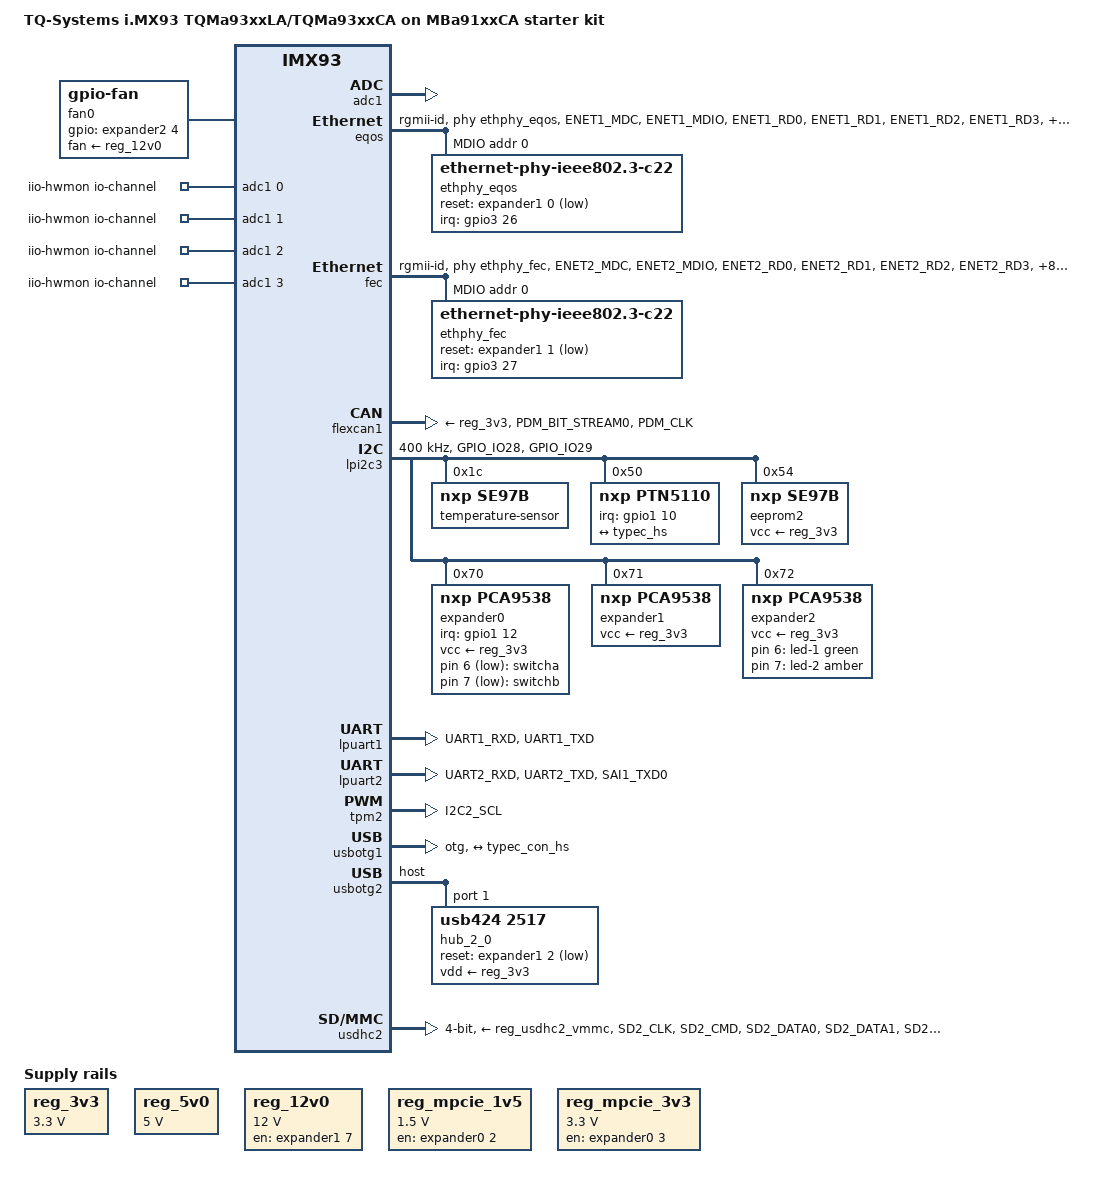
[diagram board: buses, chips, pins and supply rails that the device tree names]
// SPDX-License-Identifier: (GPL-2.0-or-later OR MIT)
/*
 * Copyright (c) 2022-2025 TQ-Systems GmbH <linux@ew.tq-group.com>,
 * D-82229 Seefeld, Germany.
 * Author: Markus Niebel
 * Author: Alexander Stein
 */
/dts-v1/;

#include <dt-bindings/input/input.h>
#include <dt-bindings/leds/common.h>
#include <dt-bindings/net/ti-dp83867.h>
#include <dt-bindings/pwm/pwm.h>
#include <dt-bindings/usb/pd.h>
#include "imx93-tqma9352.dtsi"

/{
	model = "TQ-Systems i.MX93 TQMa93xxLA/TQMa93xxCA on MBa91xxCA starter kit";
	compatible = "tq,imx93-tqma9352-mba91xxca", "tq,imx93-tqma9352", "fsl,imx93";
	chassis-type = "embedded";

	chosen {
		stdout-path = &lpuart1;
	};

	aliases {
		eeprom0 = &eeprom0;
		ethernet0 = &eqos;
		ethernet1 = &fec;
		gpio0 = &gpio1;
		gpio1 = &gpio2;
		gpio2 = &gpio3;
		gpio3 = &gpio4;
		i2c0 = &lpi2c1;
		i2c1 = &lpi2c2;
		i2c2 = &lpi2c3;
		mmc0 = &usdhc1;
		mmc1 = &usdhc2;
		rtc0 = &pcf85063;
		rtc1 = &bbnsm_rtc;
		serial0 = &lpuart1;
		serial1 = &lpuart2;
	};

	backlight: backlight {
		compatible = "pwm-backlight";
		pwms = <&tpm2 2 5000000 0>;
		brightness-levels = <0 4 8 16 32 64 128 255>;
		default-brightness-level = <7>;
		power-supply = <&reg_12v0>;
		enable-gpios = <&expander2 2 GPIO_ACTIVE_HIGH>;
		status = "disabled";
	};

	display: display {
		/*
		 * Display is not fixed, so compatible has to be added from
		 * DT overlay
		 */
		power-supply = <&reg_3v3>;
		enable-gpios = <&expander2 1 GPIO_ACTIVE_HIGH>;
		backlight = <&backlight>;
		status = "disabled";

		port {
			panel_in: endpoint {
			};
		};
	};

	fan0: gpio-fan {
		compatible = "gpio-fan";
		gpios = <&expander2 4 GPIO_ACTIVE_HIGH>;
		gpio-fan,speed-map = <0 0>, <10000 1>;
		fan-supply = <&reg_12v0>;
		#cooling-cells = <2>;
	};

	gpio-keys {
		compatible = "gpio-keys";
		autorepeat;

		switch-a {
			label = "switcha";
			linux,code = <BTN_0>;
			gpios = <&expander0 6 GPIO_ACTIVE_LOW>;
			wakeup-source;
		};

		switch-b {
			label = "switchb";
			linux,code = <BTN_1>;
			gpios = <&expander0 7 GPIO_ACTIVE_LOW>;
			wakeup-source;
		};
	};

	gpio-leds {
		compatible = "gpio-leds";

		led-1 {
			color = <LED_COLOR_ID_GREEN>;
			function = LED_FUNCTION_STATUS;
			gpios = <&expander2 6 GPIO_ACTIVE_HIGH>;
			linux,default-trigger = "default-on";
		};

		led-2 {
			color = <LED_COLOR_ID_AMBER>;
			function = LED_FUNCTION_HEARTBEAT;
			gpios = <&expander2 7 GPIO_ACTIVE_HIGH>;
			linux,default-trigger = "heartbeat";
		};
	};

	iio-hwmon {
		compatible = "iio-hwmon";
		io-channels = <&adc1 0>, <&adc1 1>, <&adc1 2>, <&adc1 3>;
	};

	lvds_encoder: lvds-encoder {
		compatible = "ti,sn75lvds83", "lvds-encoder";
		powerdown-gpios = <&expander2 3 GPIO_ACTIVE_LOW>;
		power-supply = <&reg_3v3>;
		status = "disabled";

		ports {
			#address-cells = <1>;
			#size-cells = <0>;

			port@0 {
				reg = <0>;

				lvds_encoder_input: endpoint {
				};
			};

			port@1 {
				reg = <1>;

				lvds_encoder_output: endpoint {
				};
			};
		};
	};

	reg_3v3: regulator-3v3 {
		compatible = "regulator-fixed";
		regulator-name = "V_3V3_MB";
		regulator-min-microvolt = <3300000>;
		regulator-max-microvolt = <3300000>;
	};

	reg_5v0: regulator-5v0 {
		compatible = "regulator-fixed";
		regulator-name = "V_5V0_MB";
		regulator-min-microvolt = <5000000>;
		regulator-max-microvolt = <5000000>;
	};

	reg_12v0: regulator-12v0 {
		compatible = "regulator-fixed";
		regulator-name = "V_12V";
		regulator-min-microvolt = <12000000>;
		regulator-max-microvolt = <12000000>;
		gpio = <&expander1 7 GPIO_ACTIVE_HIGH>;
		enable-active-high;
	};

	reg_mpcie_1v5: regulator-mpcie-1v5 {
		compatible = "regulator-fixed";
		regulator-name = "V_1V5_MPCIE";
		regulator-min-microvolt = <1500000>;
		regulator-max-microvolt = <1500000>;
		gpio = <&expander0 2 GPIO_ACTIVE_HIGH>;
		enable-active-high;
		regulator-always-on;
	};

	reg_mpcie_3v3: regulator-mpcie-3v3 {
		compatible = "regulator-fixed";
		regulator-name = "V_3V3_MPCIE";
		regulator-min-microvolt = <3300000>;
		regulator-max-microvolt = <3300000>;
		gpio = <&expander0 3 GPIO_ACTIVE_HIGH>;
		enable-active-high;
		regulator-always-on;
	};

	thermal-zones {
		cpu-thermal {
			trips {
				cpu_active: trip-active0 {
					temperature = <40000>;
					hysteresis = <5000>;
					type = "active";
				};
			};

			cooling-maps {
				map1 {
					trip = <&cpu_active>;
					cooling-device = <&fan0 THERMAL_NO_LIMIT THERMAL_NO_LIMIT>;
				};
			};
		};
	};
};

&adc1 {
	status = "okay";
};

&eqos {
	pinctrl-names = "default";
	pinctrl-0 = <&pinctrl_eqos>;
	phy-mode = "rgmii-id";
	phy-handle = <&ethphy_eqos>;
	status = "okay";

	mdio {
		compatible = "snps,dwmac-mdio";
		#address-cells = <1>;
		#size-cells = <0>;

		ethphy_eqos: ethernet-phy@0 {
			compatible = "ethernet-phy-ieee802.3-c22";
			reg = <0>;
			pinctrl-names = "default";
			pinctrl-0 = <&pinctrl_eqos_phy>;
			reset-gpios = <&expander1 0 GPIO_ACTIVE_LOW>;
			reset-assert-us = <500000>;
			reset-deassert-us = <50000>;
			interrupt-parent = <&gpio3>;
			interrupts = <26 IRQ_TYPE_EDGE_FALLING>;
			enet-phy-lane-no-swap;
			ti,rx-internal-delay = <DP83867_RGMIIDCTL_2_25_NS>;
			ti,tx-internal-delay = <DP83867_RGMIIDCTL_2_25_NS>;
			ti,fifo-depth = <DP83867_PHYCR_FIFO_DEPTH_4_B_NIB>;
			ti,dp83867-rxctrl-strap-quirk;
			ti,clk-output-sel = <DP83867_CLK_O_SEL_OFF>;
		};
	};
};

&fec {
	pinctrl-names = "default";
	pinctrl-0 = <&pinctrl_fec>;
	phy-mode = "rgmii-id";
	phy-handle = <&ethphy_fec>;
	fsl,magic-packet;
	status = "okay";

	mdio {
		#address-cells = <1>;
		#size-cells = <0>;
		clock-frequency = <5000000>;

		ethphy_fec: ethernet-phy@0 {
			compatible = "ethernet-phy-ieee802.3-c22";
			reg = <0>;
			pinctrl-names = "default";
			pinctrl-0 = <&pinctrl_fec_phy>;
			reset-gpios = <&expander1 1 GPIO_ACTIVE_LOW>;
			reset-assert-us = <500000>;
			reset-deassert-us = <50000>;
			interrupt-parent = <&gpio3>;
			interrupts = <27 IRQ_TYPE_EDGE_FALLING>;
			enet-phy-lane-no-swap;
			ti,rx-internal-delay = <DP83867_RGMIIDCTL_2_25_NS>;
			ti,tx-internal-delay = <DP83867_RGMIIDCTL_2_25_NS>;
			ti,fifo-depth = <DP83867_PHYCR_FIFO_DEPTH_4_B_NIB>;
			ti,dp83867-rxctrl-strap-quirk;
			ti,clk-output-sel = <DP83867_CLK_O_SEL_OFF>;
		};
	};
};

&flexcan1 {
	pinctrl-names = "default";
	pinctrl-0 = <&pinctrl_flexcan1>;
	xceiver-supply = <&reg_3v3>;
	status = "okay";
};

&gpio1 {
	gpio-line-names =
		/* 00 */ "", "", "", "PMIC_IRQ#",
		/* 04 */ "", "", "", "",
		/* 08 */ "", "", "USB_C_ALERT#", "BM2_LCD_INT#",
		/* 12 */ "PEX_INT#", "", "RTC_EVENT#", "",
		/* 16 */ "", "", "", "",
		/* 20 */ "", "", "", "",
		/* 24 */ "", "", "", "",
		/* 28 */ "", "", "", "";
};

&gpio2 {
	gpio-line-names =
		/* 00 */ "", "", "", "",
		/* 04 */ "", "", "", "",
		/* 08 */ "", "", "", "",
		/* 12 */ "", "", "", "",
		/* 16 */ "", "", "", "",
		/* 20 */ "", "", "", "",
		/* 24 */ "", "", "", "",
		/* 28 */ "", "", "", "";
};

&gpio3 {
	gpio-line-names =
		/* 00 */ "SD2_CD#", "", "", "",
		/* 04 */ "", "", "", "SD2_RST#",
		/* 08 */ "", "", "", "",
		/* 12 */ "", "", "", "",
		/* 16 */ "", "", "", "",
		/* 20 */ "", "", "", "",
		/* 24 */ "", "", "ENET1_INT#", "ENET2_INT#",
		/* 28 */ "", "", "", "";
};

&gpio4 {
	gpio-line-names =
		/* 00 */ "", "", "", "",
		/* 04 */ "", "", "", "",
		/* 08 */ "", "", "", "",
		/* 12 */ "", "", "", "",
		/* 16 */ "", "", "", "",
		/* 20 */ "", "", "", "",
		/* 24 */ "", "", "", "",
		/* 28 */ "", "", "", "";
};

&lpi2c3 {
	#address-cells = <1>;
	#size-cells = <0>;
	clock-frequency = <400000>;
	pinctrl-names = "default", "sleep";
	pinctrl-0 = <&pinctrl_lpi2c3>;
	pinctrl-1 = <&pinctrl_lpi2c3>;
	status = "okay";

	temperature-sensor@1c {
		compatible = "nxp,se97b", "jedec,jc-42.4-temp";
		reg = <0x1c>;
	};

	ptn5110: usb-typec@50 {
		compatible = "nxp,ptn5110", "tcpci";
		reg = <0x50>;
		pinctrl-names = "default";
		pinctrl-0 = <&pinctrl_typec>;
		interrupt-parent = <&gpio1>;
		interrupts = <10 IRQ_TYPE_EDGE_FALLING>;

		connector {
			compatible = "usb-c-connector";
			label = "X17";
			power-role = "dual";
			data-role = "dual";
			try-power-role = "sink";
			typec-power-opmode = "default";
			pd-disable;
			self-powered;

			port {
				typec_con_hs: endpoint {
					remote-endpoint = <&typec_hs>;
				};
			};
		};
	};

	eeprom2: eeprom@54 {
		compatible = "nxp,se97b", "atmel,24c02";
		reg = <0x54>;
		pagesize = <16>;
		vcc-supply = <&reg_3v3>;
	};

	expander0: gpio@70 {
		compatible = "nxp,pca9538";
		reg = <0x70>;
		pinctrl-names = "default";
		pinctrl-0 = <&pinctrl_pexp_irq>;
		gpio-controller;
		#gpio-cells = <2>;
		interrupt-controller;
		#interrupt-cells = <2>;
		interrupt-parent = <&gpio1>;
		interrupts = <12 IRQ_TYPE_LEVEL_LOW>;
		vcc-supply = <&reg_3v3>;
		gpio-line-names = "TEMP_EVENT_MOD#", "MPCIE_WAKE#",
				  "MPCIE_1V5_EN", "MPCIE_3V3_EN",
				  "MPCIE_PERST#", "MPCIE_WDISABLE#",
				  "BUTTON_A#", "BUTTON_B#";

		temp-event-mod-hog {
			gpio-hog;
			gpios = <0 GPIO_ACTIVE_LOW>;
			input;
			line-name = "TEMP_EVENT_MOD#";
		};

		mpcie-wake-hog {
			gpio-hog;
			gpios = <1 GPIO_ACTIVE_LOW>;
			input;
			line-name = "MPCIE_WAKE#";
		};

		/*
		 * Controls the mPCIE slot reset which is low active as
		 * reset signal. The output-low states, the signal is
		 * inactive, e.g. not in reset
		 */
		mpcie_rst_hog: mpcie-rst-hog {
			gpio-hog;
			gpios = <4 GPIO_ACTIVE_LOW>;
			output-low;
			line-name = "MPCIE_PERST#";
		};

		/*
		 * Controls the mPCIE slot WDISABLE pin which is low active
		 * as disable signal. The output-low states, the signal is
		 * inactive, e.g. not disabled
		 */
		mpcie_wdisable_hog: mpcie-wdisable-hog {
			gpio-hog;
			gpios = <5 GPIO_ACTIVE_LOW>;
			output-low;
			line-name = "MPCIE_WDISABLE#";
		};
	};

	expander1: gpio@71 {
		compatible = "nxp,pca9538";
		reg = <0x71>;
		gpio-controller;
		#gpio-cells = <2>;
		vcc-supply = <&reg_3v3>;
		gpio-line-names = "ENET1_RESET#", "ENET2_RESET#",
				  "USB_RESET#", "",
				  "WLAN_PD#", "WLAN_W_DISABLE#",
				  "WLAN_PERST#", "12V_EN";

		/*
		 * Controls the WiFi card PD pin which is low active
		 * as power down signal. The output-low states, the signal
		 * is inactive, e.g. not power down
		 */
		wlan-pd-hog {
			gpio-hog;
			gpios = <4 GPIO_ACTIVE_LOW>;
			output-low;
			line-name = "WLAN_PD#";
		};

		/*
		 * Controls the WiFi card disable pin which is low active
		 * as disable signal. The output-low states, the signal
		 * is inactive, e.g. not disabled
		 */
		wlan-wdisable-hog {
			gpio-hog;
			gpios = <5 GPIO_ACTIVE_LOW>;
			output-low;
			line-name = "WLAN_W_DISABLE#";
		};

		/*
		 * Controls the WiFi card reset pin which is low active
		 * as reset signal. The output-low states, the signal
		 * is inactive, e.g. not in reset
		 */
		wlan-perst-hog {
			gpio-hog;
			gpios = <6 GPIO_ACTIVE_LOW>;
			output-low;
			line-name = "WLAN_PERST#";
		};
	};

	expander2: gpio@72 {
		compatible = "nxp,pca9538";
		reg = <0x72>;
		gpio-controller;
		#gpio-cells = <2>;
		vcc-supply = <&reg_3v3>;
		gpio-line-names = "LCD_RESET#", "LCD_PWR_EN",
				  "LCD_BLT_EN", "LVDS_SHDN#",
				  "FAN_PWR_EN", "",
				  "USER_LED1", "USER_LED2";
	};
};

&lpuart1 {
	pinctrl-names = "default";
	pinctrl-0 = <&pinctrl_uart1>;
	status = "okay";
};

&lpuart2 {
	pinctrl-names = "default";
	pinctrl-0 = <&pinctrl_uart2>;
	linux,rs485-enabled-at-boot-time;
	status = "okay";
};

&pcf85063 {
	/* RTC_EVENT# from SoM is connected on mainboard */
	pinctrl-names = "default";
	pinctrl-0 = <&pinctrl_pcf85063>;
	interrupt-parent = <&gpio1>;
	interrupts = <14 IRQ_TYPE_EDGE_FALLING>;
};

&se97_som {
	/* TEMP_EVENT# from SoM is connected on mainboard */
	interrupt-parent = <&expander0>;
	interrupts = <0 IRQ_TYPE_LEVEL_LOW>;
};

&tpm2 {
	pinctrl-names = "default";
	pinctrl-0 = <&pinctrl_tpm2>;
	status = "okay";
};

&usbotg1 {
	dr_mode = "otg";
	hnp-disable;
	srp-disable;
	adp-disable;
	usb-role-switch;
	disable-over-current;
	samsung,picophy-pre-emp-curr-control = <3>;
	samsung,picophy-dc-vol-level-adjust = <7>;
	status = "okay";

	port {
		typec_hs: endpoint {
			remote-endpoint = <&typec_con_hs>;
		};
	};
};

&usbotg2 {
	dr_mode = "host";
	#address-cells = <1>;
	#size-cells = <0>;
	disable-over-current;
	samsung,picophy-pre-emp-curr-control = <3>;
	samsung,picophy-dc-vol-level-adjust = <7>;
	status = "okay";

	hub_2_0: hub@1 {
		compatible = "usb424,2517";
		reg = <1>;
		reset-gpios = <&expander1 2 GPIO_ACTIVE_LOW>;
		vdd-supply = <&reg_3v3>;
	};
};

&usdhc2 {
	pinctrl-names = "default", "state_100mhz", "state_200mhz";
	pinctrl-0 = <&pinctrl_usdhc2_hs>, <&pinctrl_usdhc2_gpio>;
	pinctrl-1 = <&pinctrl_usdhc2_uhs>, <&pinctrl_usdhc2_gpio>;
	pinctrl-2 = <&pinctrl_usdhc2_uhs>, <&pinctrl_usdhc2_gpio>;
	cd-gpios = <&gpio3 0 GPIO_ACTIVE_LOW>;
	vmmc-supply = <&reg_usdhc2_vmmc>;
	bus-width = <4>;
	no-sdio;
	no-mmc;
	disable-wp;
	status = "okay";
};

&iomuxc {
	pinctrl_eqos: eqosgrp {
		fsl,pins = /* PD | FSEL_2 | DSE X4 */
			   <MX93_PAD_ENET1_MDC__ENET_QOS_MDC				0x51e>,
			   /* SION | HYS | ODE | FSEL_2 | DSE X4 */
			   <MX93_PAD_ENET1_MDIO__ENET_QOS_MDIO				0x4000111e>,
			   /* HYS | FSEL_0 | DSE no drive */
			   <MX93_PAD_ENET1_RD0__ENET_QOS_RGMII_RD0			0x1000>,
			   <MX93_PAD_ENET1_RD1__ENET_QOS_RGMII_RD1			0x1000>,
			   <MX93_PAD_ENET1_RD2__ENET_QOS_RGMII_RD2			0x1000>,
			   <MX93_PAD_ENET1_RD3__ENET_QOS_RGMII_RD3			0x1000>,
			   <MX93_PAD_ENET1_RX_CTL__ENET_QOS_RGMII_RX_CTL		0x1000>,
			   /* HYS | PD | FSEL_0 | DSE no drive */
			   <MX93_PAD_ENET1_RXC__CCM_ENET_QOS_CLOCK_GENERATE_RX_CLK	0x1400>,
			   /* PD | FSEL_2 | DSE X4 */
			   <MX93_PAD_ENET1_TD0__ENET_QOS_RGMII_TD0			0x51e>,
			   <MX93_PAD_ENET1_TD1__ENET_QOS_RGMII_TD1			0x51e>,
			   <MX93_PAD_ENET1_TD2__ENET_QOS_RGMII_TD2			0x51e>,
			   <MX93_PAD_ENET1_TD3__ENET_QOS_RGMII_TD3			0x51e>,
			   <MX93_PAD_ENET1_TX_CTL__ENET_QOS_RGMII_TX_CTL		0x51e>,
			   /* PD | FSEL_3 | DSE X3 */
			   <MX93_PAD_ENET1_TXC__CCM_ENET_QOS_CLOCK_GENERATE_TX_CLK	0x58e>;
	};

	pinctrl_eqos_phy: eqosphygrp {
		fsl,pins = /* HYS | FSEL_0 | DSE no drive */
			   <MX93_PAD_CCM_CLKO1__GPIO3_IO26			0x1000>;
	};

	pinctrl_fec: fecgrp {
		fsl,pins = /* PD | FSEL_2 | DSE X4 */
			   <MX93_PAD_ENET2_MDC__ENET1_MDC			0x51e>,
			   /* SION | HYS | ODE | FSEL_2 | DSE X4 */
			   <MX93_PAD_ENET2_MDIO__ENET1_MDIO			0x4000111e>,
			   /* HYS | FSEL_0 | DSE no drive */
			   <MX93_PAD_ENET2_RD0__ENET1_RGMII_RD0			0x1000>,
			   <MX93_PAD_ENET2_RD1__ENET1_RGMII_RD1			0x1000>,
			   <MX93_PAD_ENET2_RD2__ENET1_RGMII_RD2			0x1000>,
			   <MX93_PAD_ENET2_RD3__ENET1_RGMII_RD3			0x1000>,
			   <MX93_PAD_ENET2_RX_CTL__ENET1_RGMII_RX_CTL		0x1000>,
			   /* HYS | PD | FSEL_0 | DSE no drive */
			   <MX93_PAD_ENET2_RXC__ENET1_RGMII_RXC			0x1400>,
			   /* PD | FSEL_2 | DSE X4 */
			   <MX93_PAD_ENET2_TD0__ENET1_RGMII_TD0			0x51e>,
			   <MX93_PAD_ENET2_TD1__ENET1_RGMII_TD1			0x51e>,
			   <MX93_PAD_ENET2_TD2__ENET1_RGMII_TD2			0x51e>,
			   <MX93_PAD_ENET2_TD3__ENET1_RGMII_TD3			0x51e>,
			   <MX93_PAD_ENET2_TX_CTL__ENET1_RGMII_TX_CTL		0x51e>,
			   /* PD | FSEL_3 | DSE X3 */
			   <MX93_PAD_ENET2_TXC__ENET1_RGMII_TXC			0x58e>;
	};

	pinctrl_fec_phy: fecphygrp {
		fsl,pins = /* HYS | FSEL_0 | DSE no drive */
			   <MX93_PAD_CCM_CLKO2__GPIO3_IO27			0x1000>;
	};

	pinctrl_flexcan1: flexcan1grp {
		fsl,pins = /* HYS | PU | FSEL_0 | DSE no drive */
			   <MX93_PAD_PDM_BIT_STREAM0__CAN1_RX		0x1200>,
			   /* PU | FSEL_3 | DSE X4 */
			   <MX93_PAD_PDM_CLK__CAN1_TX			0x039e>;
	};

	pinctrl_jtag: jtaggrp {
		fsl,pins = <MX93_PAD_DAP_TCLK_SWCLK__JTAG_MUX_TCK	0x051e>,
			   <MX93_PAD_DAP_TDI__JTAG_MUX_TDI		0x1200>,
			   <MX93_PAD_DAP_TDO_TRACESWO__JTAG_MUX_TDO	0x031e>,
			   <MX93_PAD_DAP_TMS_SWDIO__JTAG_MUX_TMS	0x1200>;
	};

	pinctrl_lpi2c3: lpi2c3grp {
		fsl,pins = /* SION | HYS | OD | FSEL_3 | DSE X4 */
			   <MX93_PAD_GPIO_IO28__LPI2C3_SDA		0x4000199e>,
			   <MX93_PAD_GPIO_IO29__LPI2C3_SCL		0x4000199e>;
	};

	pinctrl_pcf85063: pcf85063grp {
		fsl,pins = <MX93_PAD_SAI1_RXD0__GPIO1_IO14		0x1000>;
	};

	pinctrl_pexp_irq: pexpirqgrp {
		fsl,pins = /* HYS | FSEL_0 | No DSE */
			   <MX93_PAD_SAI1_TXC__GPIO1_IO12		0x1000>;
	};

	pinctrl_rgbdisp: rgbdispgrp {
		fsl,pins = <MX93_PAD_GPIO_IO00__MEDIAMIX_DISP_CLK	0x31e>,
			   <MX93_PAD_GPIO_IO01__MEDIAMIX_DISP_DE	0x31e>,
			   <MX93_PAD_GPIO_IO02__MEDIAMIX_DISP_VSYNC	0x31e>,
			   <MX93_PAD_GPIO_IO03__MEDIAMIX_DISP_HSYNC	0x31e>,
			   <MX93_PAD_GPIO_IO04__MEDIAMIX_DISP_DATA00	0x31e>,
			   <MX93_PAD_GPIO_IO05__MEDIAMIX_DISP_DATA01	0x31e>,
			   <MX93_PAD_GPIO_IO06__MEDIAMIX_DISP_DATA02	0x31e>,
			   <MX93_PAD_GPIO_IO07__MEDIAMIX_DISP_DATA03	0x31e>,
			   <MX93_PAD_GPIO_IO08__MEDIAMIX_DISP_DATA04	0x31e>,
			   <MX93_PAD_GPIO_IO09__MEDIAMIX_DISP_DATA05	0x31e>,
			   <MX93_PAD_GPIO_IO10__MEDIAMIX_DISP_DATA06	0x31e>,
			   <MX93_PAD_GPIO_IO11__MEDIAMIX_DISP_DATA07	0x31e>,
			   <MX93_PAD_GPIO_IO12__MEDIAMIX_DISP_DATA08	0x31e>,
			   <MX93_PAD_GPIO_IO13__MEDIAMIX_DISP_DATA09	0x31e>,
			   <MX93_PAD_GPIO_IO14__MEDIAMIX_DISP_DATA10	0x31e>,
			   <MX93_PAD_GPIO_IO15__MEDIAMIX_DISP_DATA11	0x31e>,
			   <MX93_PAD_GPIO_IO16__MEDIAMIX_DISP_DATA12	0x31e>,
			   <MX93_PAD_GPIO_IO17__MEDIAMIX_DISP_DATA13	0x31e>,
			   <MX93_PAD_GPIO_IO18__MEDIAMIX_DISP_DATA14	0x31e>,
			   <MX93_PAD_GPIO_IO19__MEDIAMIX_DISP_DATA15	0x31e>,
			   <MX93_PAD_GPIO_IO20__MEDIAMIX_DISP_DATA16	0x31e>,
			   <MX93_PAD_GPIO_IO21__MEDIAMIX_DISP_DATA17	0x31e>,
			   <MX93_PAD_GPIO_IO22__MEDIAMIX_DISP_DATA18	0x31e>,
			   <MX93_PAD_GPIO_IO23__MEDIAMIX_DISP_DATA19	0x31e>,
			   <MX93_PAD_GPIO_IO24__MEDIAMIX_DISP_DATA20	0x31e>,
			   <MX93_PAD_GPIO_IO25__MEDIAMIX_DISP_DATA21	0x31e>,
			   <MX93_PAD_GPIO_IO26__MEDIAMIX_DISP_DATA22	0x31e>,
			   <MX93_PAD_GPIO_IO27__MEDIAMIX_DISP_DATA23	0x31e>;
	};

	pinctrl_touch: touchgrp {
		fsl,pins = /* HYS | FSEL_0 | No DSE */
			   <MX93_PAD_SAI1_TXFS__GPIO1_IO11		0x1000>;
	};

	pinctrl_tpm2: tpm2grp {
		fsl,pins = <MX93_PAD_I2C2_SCL__TPM2_CH2			0x57e>;
	};

	pinctrl_typec: typecgrp {
		fsl,pins = /* HYS | FSEL_0 | No DSE */
			   <MX93_PAD_PDM_BIT_STREAM1__GPIO1_IO10	0x1000>;
	};

	pinctrl_uart1: uart1grp {
		fsl,pins = /* HYS | FSEL_0 | No DSE */
			   <MX93_PAD_UART1_RXD__LPUART1_RX		0x1000>,
			   /* FSEL_2 | DSE X4 */
			   <MX93_PAD_UART1_TXD__LPUART1_TX		0x011e>;
	};

	pinctrl_uart2: uart2grp {
		fsl,pins = /* HYS | FSEL_0 | No DSE */
			   <MX93_PAD_UART2_RXD__LPUART2_RX		0x1000>,
			   /* FSEL_2 | DSE X4 */
			   <MX93_PAD_UART2_TXD__LPUART2_TX		0x011e>,
			   /* FSEL_2 | DSE X4 */
			   <MX93_PAD_SAI1_TXD0__LPUART2_RTS_B		0x011e>;
	};

	pinctrl_usdhc2_gpio: usdhc2gpiogrp {
		fsl,pins = /* HYS | FSEL_0 | No DSE */
			   <MX93_PAD_SD2_CD_B__GPIO3_IO00		0x1000>;
	};

	/* enable SION for data and cmd pad due to ERR052021 */
	pinctrl_usdhc2_hs: usdhc2hsgrp {
		fsl,pins = /* PD | FSEL_3 | DSE X5 */
			   <MX93_PAD_SD2_CLK__USDHC2_CLK		0x05be>,
			   /* HYS | PU | FSEL_3 | DSE X4 */
			   <MX93_PAD_SD2_CMD__USDHC2_CMD		0x4000139e>,
			   /* HYS | PU | FSEL_3 | DSE X3 */
			   <MX93_PAD_SD2_DATA0__USDHC2_DATA0		0x4000138e>,
			   <MX93_PAD_SD2_DATA1__USDHC2_DATA1		0x4000138e>,
			   <MX93_PAD_SD2_DATA2__USDHC2_DATA2		0x4000138e>,
			   <MX93_PAD_SD2_DATA3__USDHC2_DATA3		0x4000138e>,
			   /* FSEL_2 | DSE X3 */
			   <MX93_PAD_SD2_VSELECT__USDHC2_VSELECT	0x010e>;
	};

	/* enable SION for data and cmd pad due to ERR052021 */
	pinctrl_usdhc2_uhs: usdhc2uhsgrp {
		fsl,pins = /* PD | FSEL_3 | DSE X6 */
			   <MX93_PAD_SD2_CLK__USDHC2_CLK		0x05fe>,
			   /* HYS | PU | FSEL_3 | DSE X4 */
			   <MX93_PAD_SD2_CMD__USDHC2_CMD		0x4000139e>,
			   <MX93_PAD_SD2_DATA0__USDHC2_DATA0		0x4000139e>,
			   <MX93_PAD_SD2_DATA1__USDHC2_DATA1		0x4000139e>,
			   <MX93_PAD_SD2_DATA2__USDHC2_DATA2		0x4000139e>,
			   <MX93_PAD_SD2_DATA3__USDHC2_DATA3		0x4000139e>,
			   /* FSEL_2 | DSE X3 */
			   <MX93_PAD_SD2_VSELECT__USDHC2_VSELECT	0x010e>;
	};
};
